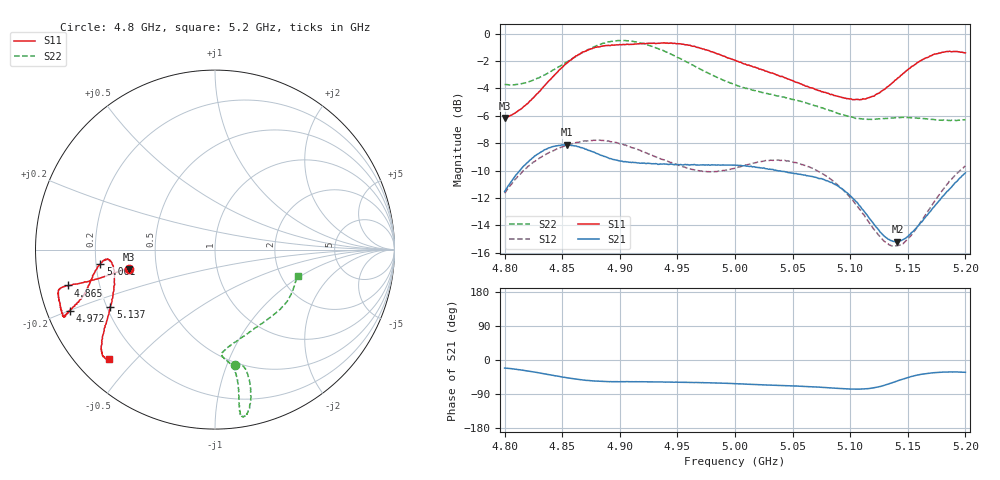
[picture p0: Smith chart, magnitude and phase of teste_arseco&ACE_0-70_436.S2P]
! Network Analyzer HP8722D
! Hewlett-Packard
! Data name: Linha & Wilkinson
! Saver's name: Rodrigo Anjos
! Comments: Teste da utilização de aquisição
! continua pelo VNA HP8722D
! Time and date: 8/5/2025 16:23
!  Frequency  S11  S21  S12  S22
# HZ  S  MA R 50
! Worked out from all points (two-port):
!   401 points, 4.8 GHz to 5.2 GHz, reference 50 ohm
!   highest |S21| = -8.12 dB at 4.854 GHz (marker M1); lowest = -15.2 dB at 5.141 GHz (marker M2)
!   |S21| within 3 dB of the highest: 4.803 GHz to 5.089 GHz (285.9 MHz wide, 5.78 % of centre); 5.188796 GHz to end of sweep
!   lowest |S11| = -6.2 dB at 4.8 GHz (marker M3), VSWR 2.94, Z = 17.2 - j4.97 ohm
!   |S11| at or under -10 dB: nowhere
!   |S22| runs from -6.4 to -0.5 dB; largest |S21 - S12| = 0.62
!   S11 on the Smith chart (normalised r, x): 4.8 GHz: 0.34, -0.10; 4.865 GHz: 0.09, -0.12; 4.972 GHz: 0.07, -0.20; 5.061 GHz: 0.22, -0.06; 5.137 GHz: 0.21, -0.24; 5.2 GHz: 0.10, -0.42
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4.8e9  0.4921 -167.2  0.265 -21.3  0.2613 -142.3  0.6518 -80.1
4.826e9  0.5895 -166.7  0.3571 -32.0  0.341 -146.6  0.6801 -76.0
4.854e9  0.7809 -166.0  0.3928 -47.1  0.391 -151.5  0.7886 -75.6
4.865e9  0.8411 -166.2  0.3854 -51.6  0.4018 -153.2  0.841 -76.2
4.867e9  0.8515 -166.3  0.3833 -52.4  0.4032 -153.5  0.8509 -76.4
4.879e9  0.8921 -165.9  0.3662 -55.6  0.4078 -155.3  0.9 -77.6
4.9e9  0.9128 -163.1  0.3427 -57.3  0.3958 -157.4  0.9434 -80.1
4.934e9  0.9221 -156.9  0.3331 -58.1  0.3517 -156.1  0.8781 -81.2
4.972e9  0.8792 -157.1  0.3319 -59.6  0.314 -146.8  0.7342 -80.3
5e9  0.8 -159.7  0.3309 -62.6  0.3231 -138.0  0.6495 -81.8
5.035e9  0.7101 -166.2  0.3173 -66.9  0.3455 -135.4  0.5947 -86.2
5.061e9  0.6439 -172.8  0.3044 -69.7  0.3298 -137.6  0.5605 -84.1
5.067e9  0.6327 -173.8  0.3009 -70.6  0.3227 -138.2  0.5498 -82.6
5.084e9  0.6003 -174.8  0.2865 -73.7  0.2919 -139.7  0.522 -75.8
5.1e9  0.5772 -171.7  0.256 -76.6  0.2523 -139.7  0.4976 -66.4
5.114e9  0.579 -165.1  0.2193 -75.9  0.2111 -136.1  0.4868 -56.4
5.134e9  0.6468 -153.0  0.1769 -62.7  0.1691 -118.2  0.4921 -42.8
5.137e9  0.6642 -151.4  0.1744 -59.5  0.1678 -114.2  0.4926 -41.0
5.141e9  0.687 -149.3  0.1737 -55.1  0.168 -109.0  0.4933 -38.7
5.152e9  0.7485 -144.9  0.1849 -44.4  0.1815 -95.4  0.4932 -33.1
5.172e9  0.8384 -139.1  0.2313 -33.6  0.24 -81.2  0.4862 -24.4
5.2e9  0.8504 -134.0  0.3102 -32.4  0.3284 -78.1  0.4852 -17.9
